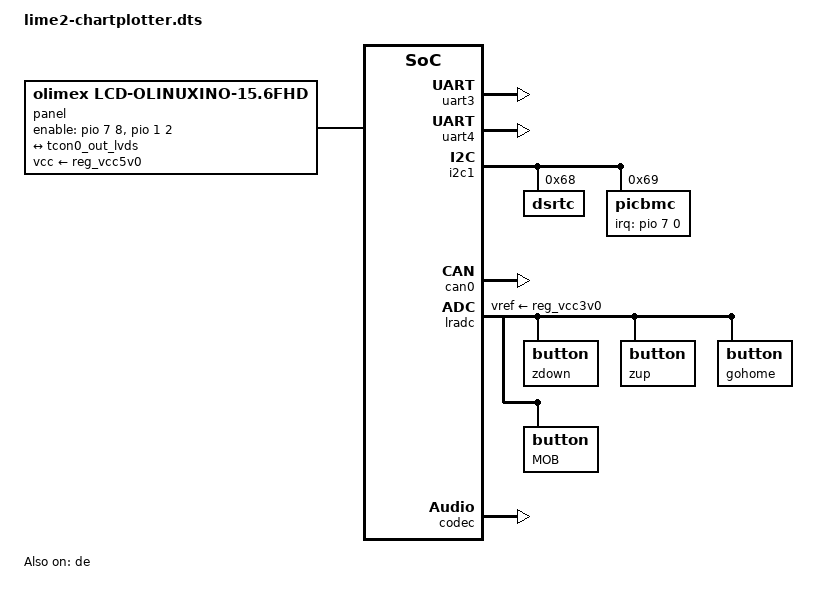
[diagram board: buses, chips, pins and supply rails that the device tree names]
#include "sun7i-a20-olinuxino-lime2.dts"

&pio {
	lvds0_pins_a: lvds@0 {
		pins = "PD0", "PD1", "PD2", "PD3", "PD4",
		       "PD5", "PD6", "PD7", "PD8", "PD9";
		function = "lvds0";
	};
	lvds1_pins_a: lvds@1  {
		pins = "PD10", "PD11", "PD12", "PD13", "PD14",
		       "PD15", "PD16", "PD17", "PD18", "PD19";
		function = "lvds1";
	};

};

&uart3_pins_a {
	pins = "PG6", "PG7";
	function = "uart3";
};

&uart3 {
	pinctrl-names = "default";
	pinctrl-0 = <&uart3_pins_a>;
	status = "okay";
};

&uart4 {
	pinctrl-names = "default";
	pinctrl-0 = <&uart4_pins_a>;
	status = "okay";
};

&rtc {
	status = "disabled";
};

&i2c1 {
	pinctrl-names = "default";
	pinctrl-0 = <&i2c1_pins_a>;
	status = "okay";

	dsrtc: dsrtc@68 {
		reg = <0x68>;
	};

	picbmc: picbmc@69 {
		reg = <0x69>;
		interrupt-parent = <&pio>;
		interrupts = <7 0 IRQ_TYPE_EDGE_RISING>; /* PH0 */
	};
};

&can0 {
	pinctrl-names = "default";
	pinctrl-0 = <&can0_pins_a>;
	status = "okay";
};

&lradc {
	vref-supply = <&reg_vcc3v0>;
	status = "okay";
	button@zdown {
		label = "zdown";
		channel = <0>;
		voltage = <191000>;
	};
	button@zup {
		label = "zup";
		channel = <0>;
		voltage = <391000>;
	};
	button@home {
		label = "gohome";
		channel = <0>;
		voltage = <600000>;
	};
	button@mob {
		label = "MOB";
		channel = <0>;
		voltage = <794000>;
	};
};

/* 
&framebuffer@0 {
	status = "okay";
};
 */

&de {
	allwinner,pipelines = <&be0>;
	status = "okay";
};

&tcon0 {
	resets = <&ccu RST_TCON0>, <&ccu RST_LVDS>;
	reset-names = "lcd", "lvds";
	pinctrl-names = "default";
	pinctrl-0 = <&lvds0_pins_a>, <&lvds1_pins_a>;
};

&tcon0_out {
	tcon0_out_lvds: endpoint@0 {
		reg = <0>;
		remote-endpoint = <&panel_in>;
	};
};

&codec {
	allwinner,pa-gpios = <&pio 2 23 GPIO_ACTIVE_HIGH>; /* PC23 */
	status = "okay";
};

/ {
  panel {
	compatible = "olimex,LCD-OLinuXino-15.6FHD", "panel-dual-lvds";

	width-mm = <344>;
	height-mm = <193>;
	data-mapping = "jeida-18";
	vcc-supply = <&reg_vcc5v0>;
	enable-gpios = <&pio 7 8 GPIO_ACTIVE_HIGH
			&pio 1 2 GPIO_ACTIVE_HIGH>; /* PH8, PB2 */

        panel-timing {
                /* clock-frequency = <76000000>; */
                clock-frequency = <152000000>;
                hactive = <1920>;
                vactive = <1080>;
                hsync-len = <1>;
                hfront-porch = <205>;
                hback-porch = <100>;
                vsync-len = <1>;
                vfront-porch = <38>;
                vback-porch = <23>;
        };

        port {
                panel_in: endpoint {
                        remote-endpoint = <&tcon0_out_lvds>;
                };
        };
  };
};
